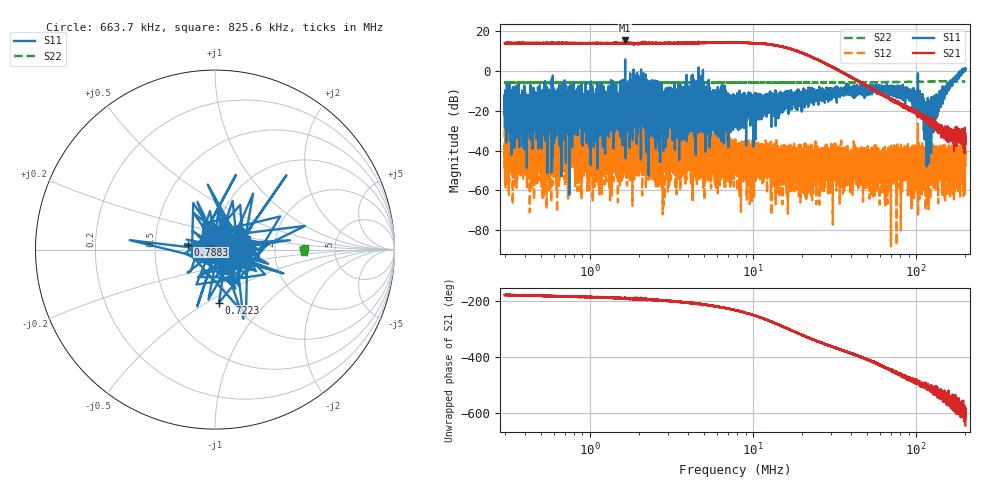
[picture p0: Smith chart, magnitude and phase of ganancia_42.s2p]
# Hz S DB R 50
! CMT, M5065, 19127446, 24.2.4/2
! Date: 11/1/2024 3:37:43 PM
! Data: Format (Calibration Info)
! Freq	S11:dB/Ang(F2)	S21:dB/Ang(F2)	S12:dB/Ang(F2)	S22:dB/Ang(F2)
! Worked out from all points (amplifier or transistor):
!   9000 points, 300 kHz to 200 MHz, reference 50 ohm
!   highest |S21| = 15.1 dB at 1.644 MHz (marker M1)
!   |S21| within 3 dB of that: start of sweep to 14.69 MHz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
!   unconditionally stable (mu >= 1): start of sweep to 1.643 MHz; 2.432 MHz to 4.63 MHz; 4.928 MHz to 190.3 MHz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
!   at 886.8 kHz: K = 14.35, MAG = 15.1 dB, |S12| = -45.7 dB
!   at 7.749 MHz: K = 4.01, MAG = 15.4 dB, |S12| = -34.8 dB
!   at 200 MHz: K = -209.41, MSG = 3.2 dB, |S12| = -39.5 dB
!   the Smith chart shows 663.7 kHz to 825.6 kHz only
!   S11 on the Smith chart (normalised r, x): 663.7 kHz: 1.07, -0.17; 722.3 kHz: 0.87, -0.57; 788.3 kHz: 0.74, +0.04; 825.6 kHz: 1.21, -0.11
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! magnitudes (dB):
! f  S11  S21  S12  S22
! 300 kHz  -13.9  13.7  -29.4  -5.8
! 310.1 kHz  -20.5  13.8  -46.2  -6.1
! 663.7 kHz  -21.2  13.8  -42.2  -6.1
! 722.3 kHz  -10.6  13.9  -37.1  -6.1
! 788.3 kHz  -16.3  13.9  -42.8  -6.1
! 825.6 kHz  -19.3  13.8  -38.8  -6.1
! 886.8 kHz  -13.8  13.7  -45.7  -6.0
! 977.7 kHz  -23.9  13.8  -38.8  -6.0
! 1.046 MHz  -24.1  13.8  -45.7  -6.1
! 1.644 MHz  5.6  15.1  -44.9  -6.1
! 2.621 MHz  -21.9  13.8  -42.7  -6.0
! 4.527 MHz  -24.1  13.8  -42.7  -6.0
! 7.749 MHz  -16.7  14.0  -34.8  -5.9
! 14.03 MHz  -14.5  12.5  -50.2  -6.0
! 22.91 MHz  -14.4  6.8  -43.9  -6.0
! 67.71 MHz  -8.5  -14.1  -47.1  -5.7
! 90.46 MHz  -12.5  -19.1  -42.8  -5.7
! 105.7 MHz  -11.3  -21.9  -39.9  -5.6
! 118.5 MHz  -19.2  -25.5  -41.3  -5.5
! 142.5 MHz  -13.5  -33.4  -44.9  -5.3
! 191.2 MHz  -1.1  -34.8  -38.0  -5.4
! 200 MHz  0.6  -33.0  -39.5  -5.4
